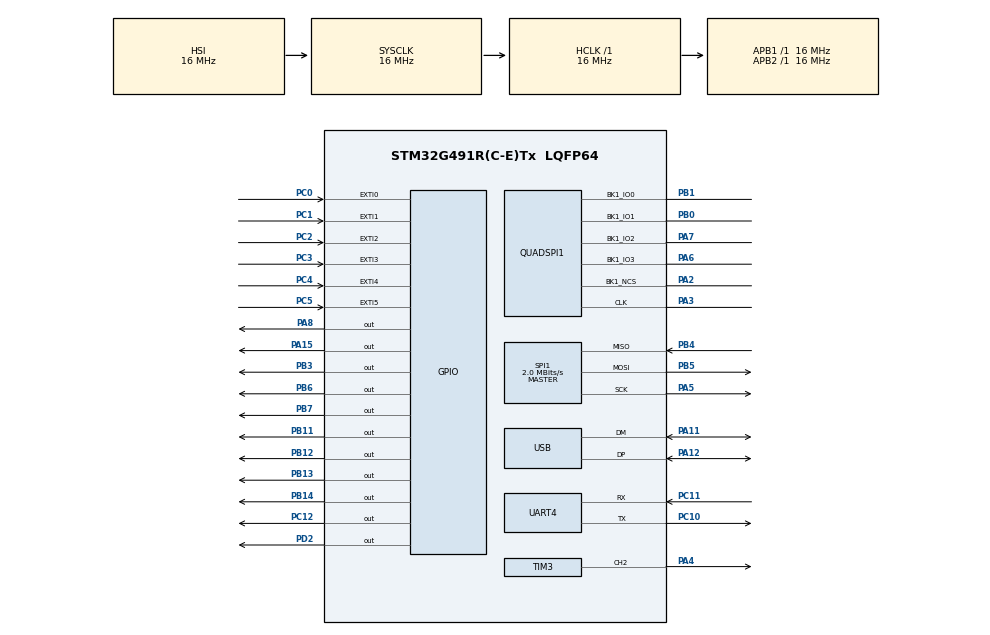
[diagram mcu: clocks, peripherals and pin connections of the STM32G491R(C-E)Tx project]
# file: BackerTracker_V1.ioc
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Mcu.Family=STM32G4
Mcu.Name=STM32G491R(C-E)Tx
Mcu.Package=LQFP64
NVIC.PriorityGroup=NVIC_PRIORITYGROUP_4
NVIC.USB_LP_IRQn=true\:0\:0\:false\:false\:true\:false\:true\:true
PA11.Mode=Device
PA11.Signal=USB_DM
PA12.Mode=Device
PA12.Signal=USB_DP
PA13.Mode=Serial_Wire
PA13.Signal=SYS_JTMS-SWDIO
PA14.Mode=Serial_Wire
PA14.Signal=SYS_JTCK-SWCLK
PA15.Signal=GPIO_Output
PA2.Mode=Single Bank 1
PA2.Signal=QUADSPI1_BK1_NCS
PA3.Mode=Single Bank 1
PA3.Signal=QUADSPI1_CLK
PA4.Signal=S_TIM3_CH2
PA5.Mode=Full_Duplex_Master
PA5.Signal=SPI1_SCK
PA6.Mode=Single Bank 1
PA6.Signal=QUADSPI1_BK1_IO3
PA7.Mode=Single Bank 1
PA7.Signal=QUADSPI1_BK1_IO2
PA8.Signal=GPIO_Output
PB0.Mode=Single Bank 1
PB0.Signal=QUADSPI1_BK1_IO1
PB1.Mode=Single Bank 1
PB1.Signal=QUADSPI1_BK1_IO0
PB11.Signal=GPIO_Output
PB12.Signal=GPIO_Output
PB13.Signal=GPIO_Output
PB14.Signal=GPIO_Output
PB3.Signal=GPIO_Output
PB4.Mode=Full_Duplex_Master
PB4.Signal=SPI1_MISO
PB5.Mode=Full_Duplex_Master
PB5.Signal=SPI1_MOSI
PB6.Signal=GPIO_Output
PB7.Signal=GPIO_Output
PC0.Signal=GPXTI0
PC1.Signal=GPXTI1
PC10.Mode=Asynchronous
PC10.Signal=UART4_TX
PC11.Mode=Asynchronous
PC11.Signal=UART4_RX
PC12.Signal=GPIO_Output
PC2.Signal=GPXTI2
PC3.Signal=GPXTI3
PC4.Signal=GPXTI4
PC5.Signal=GPXTI5
PD2.Signal=GPIO_Output
PF0-OSC_IN.Mode=HSE-External-Oscillator
PF0-OSC_IN.Signal=RCC_OSC_IN
PF1-OSC_OUT.Mode=HSE-External-Oscillator
PF1-OSC_OUT.Signal=RCC_OSC_OUT
ProjectManager.HeapSize=0x200
ProjectManager.StackSize=0x400
ProjectManager.TargetToolchain=STM32CubeIDE
RCC.ADC12Freq_Value=16000000
RCC.ADC345Freq_Value=16000000
RCC.AHBFreq_Value=16000000
RCC.APB1Freq_Value=16000000
RCC.APB1TimFreq_Value=16000000
RCC.APB2Freq_Value=16000000
RCC.APB2TimFreq_Value=16000000
RCC.CortexFreq_Value=16000000
RCC.EXTERNAL_CLOCK_VALUE=12288000
RCC.HCLKFreq_Value=16000000
RCC.HSE_VALUE=16000000
RCC.HSI48_VALUE=48000000
RCC.HSI_VALUE=16000000
RCC.LSE_VALUE=32768
RCC.SYSCLKFreq_VALUE=16000000
RCC.USBFreq_Value=48000000
RCC.VCOOutputFreq_Value=128000000
SH.S_TIM3_CH2.0=TIM3_CH2,PWM Generation2 CH2
SPI1.BaudRatePrescaler=SPI_BAUDRATEPRESCALER_8
SPI1.CLKPhase=SPI_PHASE_1EDGE
SPI1.CalculateBaudRate=2.0 MBits/s
SPI1.DataSize=SPI_DATASIZE_8BIT
SPI1.Direction=SPI_DIRECTION_2LINES
SPI1.Mode=SPI_MODE_MASTER
SPI1.VirtualType=VM_MASTER
TIM3.Channel-PWM\ Generation2\ CH2=TIM_CHANNEL_2
TIM3.PeriodNoDither=100-1
TIM3.Prescaler=59-1
USB_DEVICE.CLASS_NAME_FS=CDC
USB_DEVICE.VirtualMode=Cdc
USB_DEVICE.VirtualModeFS=Cdc_FS
VP_TIM3_VS_ClockSourceINT.Mode=Internal
VP_USB_DEVICE_VS_USB_DEVICE_CDC_FS.Mode=CDC_FS
board=custom

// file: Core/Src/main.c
/* USER CODE BEGIN Header */
/**
  ******************************************************************************
  * @file           : main.c
  * @brief          : Main program body
  ******************************************************************************
  * @attention
  *
  * Copyright (c) 2025 STMicroelectronics.
  * All rights reserved.
  *
  * This software is licensed under terms that can be found in the LICENSE file
  * in the root directory of this software component.
  * If no LICENSE file comes with this software, it is provided AS-IS.
  *
  ******************************************************************************
  */
/* USER CODE END Header */
#include "main.h"
#include "usb_device.h"

/* USER CODE BEGIN Includes */

// Barometer library
#include "MS5607SPI.h"
#include "usbd_cdc_if.h"

/* USER CODE END Includes */

QSPI_HandleTypeDef hqspi1;

SPI_HandleTypeDef hspi1;

TIM_HandleTypeDef htim3;

UART_HandleTypeDef huart4;

/* USER CODE BEGIN PV */

// LED //
uint8_t LEDstate = 0;
uint32_t LEDtimer = 500;

// Baro //
#define BARO_SAMPLERATE_MS 750
uint32_t barotimer = 500;

uint16_t baroState = 0;
uint32_t baroPressure=0;
uint32_t baroTemperature=0;
double baroTemp=0;

/* USER CODE END PV */

void SystemClock_Config(void);
static void MX_GPIO_Init(void);
static void MX_QUADSPI1_Init(void);
static void MX_SPI1_Init(void);
static void MX_UART4_Init(void);
static void MX_TIM3_Init(void);

int main(void)
{

  /* MCU Configuration--------------------------------------------------------*/

  /* Reset of all peripherals, Initializes the Flash interface and the Systick. */
  HAL_Init();

  /* Configure the system clock */
  SystemClock_Config();

  /* Initialize all configured peripherals */
  MX_GPIO_Init();
  MX_QUADSPI1_Init();
  MX_SPI1_Init();
  MX_UART4_Init();
  MX_TIM3_Init();
  MX_USB_Device_Init();
  /* USER CODE BEGIN 2 */

  // USB
  char logBuf[256];

  // Start Buzzer timer channel
  HAL_TIM_PWM_Start(&htim3, TIM_CHANNEL_2);

  // Disable LoRa
  //HAL_GPIO_WritePin(GPIOB, GPIO_PIN_7, GPIO_PIN_SET);
  //HAL_GPIO_WritePin(GPIOB, GPIO_PIN_6, GPIO_PIN_SET);

  // Baro CS pin -> A15
  baroState = MS5607_Init(&hspi1, GPIOA,  GPIO_PIN_15);
  if(baroState == 1){
	  HAL_Delay(250);

	  // Three short beeps
	  TIM3->CCR2 = 50;
	  HAL_Delay(200);
	  TIM3->CCR2 = 0;
	  HAL_Delay(200);
	  TIM3->CCR2 = 50;
	  HAL_Delay(200);
	  TIM3->CCR2 = 0;
	  HAL_Delay(200);
	  TIM3->CCR2 = 50;
	  HAL_Delay(200);
	  TIM3->CCR2 = 0;
	  HAL_Delay(100);

  } else {
	  //baroState = 0;
	  HAL_Delay(250);

	  // 1 long beeps
	  TIM3->CCR2 = 75;
	  HAL_Delay(900);
	  TIM3->CCR2 = 0;
	  HAL_Delay(100);
  }

//  if(MS5607_Init(&hspi1, GPIOA,  GPIO_PIN_15)){
//	  baroState = 1;
//  } else {
//	  baroState = 0;
//  }
//  HAL_Delay(150);

  /* USER CODE END 2 */

  /* Infinite loop */
  while (1)
  {

    /* USER CODE BEGIN 3 */

//	  if(baroState){
//		  if( ((HAL_GetTick() - barotimer) >= BARO_SAMPLERATE_MS)){
//			  MS5607Update();
//			  baroPressure = MS5607GetPressurePa();
//			  baroTemp = MS5607GetTemperatureC();
//			  barotimer = HAL_GetTick();
//
//			  enableCSB();
//			  HAL_SPI_Transmit(&hspi1, 0x1E, 1, 10);
//			  disableCSB();
//		  }
//	  }

//	  if( ((HAL_GetTick() - barotimer) >= BARO_SAMPLERATE_MS)){
//		  MS5607Update();
//		  baroPressure = MS5607GetPressurePa();
//		  baroTemp = MS5607GetTemperatureC();
//		  barotimer = HAL_GetTick();
//	  }

//	  if( ((HAL_GetTick() - barotimer) >= BARO_SAMPLERATE_MS)){
////		  MS5607Update();
////		  baroPressure = MS5607GetPressurePa();
////		  baroTemp = MS5607GetTemperatureC();
//		  /*Sensor reply data buffer*/
//		  uint8_t reply[3];
//
//		  enableCSB();
//		  /* Assemble the conversion command based on previously set OSR */
//		  HAL_SPI_Transmit(&hspi1, CONVERT_D1_COMMAND | 0x00, 1, 10);
//		  // Must wait >= 8.22ms after conversion
//		  HAL_Delay(10);
//		  disableCSB();
//
//		  /* Performs the reading of the 24 bits from the ADC */
//		  enableCSB();
//		  HAL_SPI_Transmit(&hspi1, READ_ADC_COMMAND, 1, 10);
//		  HAL_SPI_Receive(&hspi1, reply, 3, 10);
//		  disableCSB();
//
//		  /* Tranfer the 24bits read into a 32bit int */
//		  baroPressure = ((uint32_t) reply[0] << 16) | ((uint32_t) reply[1] << 8) | (uint32_t) reply[2];
//
//		  enableCSB();
//		  /* Assemble the conversion command based on previously set OSR */
//		  HAL_SPI_Transmit(&hspi1, CONVERT_D2_COMMAND | 0x00, 1, 10);
//		  // Must wait >= 8.22ms after conversion
//		  HAL_Delay(10);
//		  disableCSB();
//
//		  enableCSB();
//		  HAL_SPI_Transmit(&hspi1, READ_ADC_COMMAND, 1, 10);
//		  HAL_SPI_Receive(&hspi1, reply, 3, 10);
//		  disableCSB();
//
//		  /* Assemble the conversion command based on previously set OSR */
//		  baroTemperature = ((uint32_t) reply[0] << 16) | ((uint32_t) reply[1] << 8) | (uint32_t) reply[2];
//
//
//		  barotimer = HAL_GetTick();
//	  }

	  // Blink Blue LED
	  if( (HAL_GetTick() - LEDtimer) >= 500){

		  baroState = MS5607_Init(&hspi1, GPIOA,  GPIO_PIN_15);

		  sprintf(logBuf,"Press: %d Pa | Temp: %0.1f C\r\n",(int)baroPressure,baroTemp);
		  //sprintf(logBuf,"Pressure: %d [Pa]\r\n",(int)baroPressure);
		  CDC_Transmit_FS((uint8_t *) logBuf, strlen(logBuf));

		  LEDtimer = HAL_GetTick();

		  if(LEDstate){
			  GPIOA->ODR |= 1U<<8; //Set PA8 as HIGH
			  LEDstate = 0;

			  // Buzzer Duty Cycle %
			  //TIM3->CCR2 = 10;

		  } else {
			  GPIOA->ODR = ~(~(GPIOA->ODR) | 1U<<8); //Set PA8 as LOW
			  LEDstate = 1;

			  // Change to 0% to turn off
			  //TIM3->CCR2 = 0;

		  }
	  }

  }
  /* USER CODE END 3 */
}

void SystemClock_Config(void)
{
  RCC_OscInitTypeDef RCC_OscInitStruct = {0};
  RCC_ClkInitTypeDef RCC_ClkInitStruct = {0};

  /** Configure the main internal regulator output voltage
  */
  HAL_PWREx_ControlVoltageScaling(PWR_REGULATOR_VOLTAGE_SCALE1);

  /** Initializes the RCC Oscillators according to the specified parameters
  * in the RCC_OscInitTypeDef structure.
  */
  RCC_OscInitStruct.OscillatorType = RCC_OSCILLATORTYPE_HSI|RCC_OSCILLATORTYPE_HSI48;
  RCC_OscInitStruct.HSIState = RCC_HSI_ON;
  RCC_OscInitStruct.HSICalibrationValue = RCC_HSICALIBRATION_DEFAULT;
  RCC_OscInitStruct.HSI48State = RCC_HSI48_ON;
  RCC_OscInitStruct.PLL.PLLState = RCC_PLL_NONE;
  if (HAL_RCC_OscConfig(&RCC_OscInitStruct) != HAL_OK)
  {
    Error_Handler();
  }

  /** Initializes the CPU, AHB and APB buses clocks
  */
  RCC_ClkInitStruct.ClockType = RCC_CLOCKTYPE_HCLK|RCC_CLOCKTYPE_SYSCLK
                              |RCC_CLOCKTYPE_PCLK1|RCC_CLOCKTYPE_PCLK2;
  RCC_ClkInitStruct.SYSCLKSource = RCC_SYSCLKSOURCE_HSI;
  RCC_ClkInitStruct.AHBCLKDivider = RCC_SYSCLK_DIV1;
  RCC_ClkInitStruct.APB1CLKDivider = RCC_HCLK_DIV1;
  RCC_ClkInitStruct.APB2CLKDivider = RCC_HCLK_DIV1;

  if (HAL_RCC_ClockConfig(&RCC_ClkInitStruct, FLASH_LATENCY_0) != HAL_OK)
  {
    Error_Handler();
  }
}

static void MX_QUADSPI1_Init(void)
{

  /* QUADSPI1 parameter configuration*/
  hqspi1.Instance = QUADSPI;
  hqspi1.Init.ClockPrescaler = 255;
  hqspi1.Init.FifoThreshold = 1;
  hqspi1.Init.SampleShifting = QSPI_SAMPLE_SHIFTING_NONE;
  hqspi1.Init.FlashSize = 1;
  hqspi1.Init.ChipSelectHighTime = QSPI_CS_HIGH_TIME_1_CYCLE;
  hqspi1.Init.ClockMode = QSPI_CLOCK_MODE_0;
  hqspi1.Init.FlashID = QSPI_FLASH_ID_1;
  hqspi1.Init.DualFlash = QSPI_DUALFLASH_DISABLE;
  if (HAL_QSPI_Init(&hqspi1) != HAL_OK)
  {
    Error_Handler();
  }

}

static void MX_SPI1_Init(void)
{

  /* SPI1 parameter configuration*/
  hspi1.Instance = SPI1;
  hspi1.Init.Mode = SPI_MODE_MASTER;
  hspi1.Init.Direction = SPI_DIRECTION_2LINES;
  hspi1.Init.DataSize = SPI_DATASIZE_8BIT;
  hspi1.Init.CLKPolarity = SPI_POLARITY_LOW;
  hspi1.Init.CLKPhase = SPI_PHASE_1EDGE;
  hspi1.Init.NSS = SPI_NSS_SOFT;
  hspi1.Init.BaudRatePrescaler = SPI_BAUDRATEPRESCALER_8;
  hspi1.Init.FirstBit = SPI_FIRSTBIT_MSB;
  hspi1.Init.TIMode = SPI_TIMODE_DISABLE;
  hspi1.Init.CRCCalculation = SPI_CRCCALCULATION_DISABLE;
  hspi1.Init.CRCPolynomial = 7;
  hspi1.Init.CRCLength = SPI_CRC_LENGTH_DATASIZE;
  hspi1.Init.NSSPMode = SPI_NSS_PULSE_ENABLE;
  if (HAL_SPI_Init(&hspi1) != HAL_OK)
  {
    Error_Handler();
  }

}

static void MX_TIM3_Init(void)
{

  TIM_ClockConfigTypeDef sClockSourceConfig = {0};
  TIM_MasterConfigTypeDef sMasterConfig = {0};
  TIM_OC_InitTypeDef sConfigOC = {0};

  htim3.Instance = TIM3;
  htim3.Init.Prescaler = 59-1;
  htim3.Init.CounterMode = TIM_COUNTERMODE_UP;
  htim3.Init.Period = 99;
  htim3.Init.ClockDivision = TIM_CLOCKDIVISION_DIV1;
  htim3.Init.AutoReloadPreload = TIM_AUTORELOAD_PRELOAD_DISABLE;
  if (HAL_TIM_Base_Init(&htim3) != HAL_OK)
  {
    Error_Handler();
  }
  sClockSourceConfig.ClockSource = TIM_CLOCKSOURCE_INTERNAL;
  if (HAL_TIM_ConfigClockSource(&htim3, &sClockSourceConfig) != HAL_OK)
  {
    Error_Handler();
  }
  if (HAL_TIM_PWM_Init(&htim3) != HAL_OK)
  {
    Error_Handler();
  }
  sMasterConfig.MasterOutputTrigger = TIM_TRGO_RESET;
  sMasterConfig.MasterSlaveMode = TIM_MASTERSLAVEMODE_DISABLE;
  if (HAL_TIMEx_MasterConfigSynchronization(&htim3, &sMasterConfig) != HAL_OK)
  {
    Error_Handler();
  }
  sConfigOC.OCMode = TIM_OCMODE_PWM1;
  sConfigOC.Pulse = 0;
  sConfigOC.OCPolarity = TIM_OCPOLARITY_HIGH;
  sConfigOC.OCFastMode = TIM_OCFAST_DISABLE;
  if (HAL_TIM_PWM_ConfigChannel(&htim3, &sConfigOC, TIM_CHANNEL_2) != HAL_OK)
  {
    Error_Handler();
  }
  HAL_TIM_MspPostInit(&htim3);

}

static void MX_UART4_Init(void)
{

  huart4.Instance = UART4;
  huart4.Init.BaudRate = 115200;
  huart4.Init.WordLength = UART_WORDLENGTH_8B;
  huart4.Init.StopBits = UART_STOPBITS_1;
  huart4.Init.Parity = UART_PARITY_NONE;
  huart4.Init.Mode = UART_MODE_TX_RX;
  huart4.Init.HwFlowCtl = UART_HWCONTROL_NONE;
  huart4.Init.OverSampling = UART_OVERSAMPLING_16;
  huart4.Init.OneBitSampling = UART_ONE_BIT_SAMPLE_DISABLE;
  huart4.Init.ClockPrescaler = UART_PRESCALER_DIV1;
  huart4.AdvancedInit.AdvFeatureInit = UART_ADVFEATURE_NO_INIT;
  if (HAL_UART_Init(&huart4) != HAL_OK)
  {
    Error_Handler();
  }
  if (HAL_UARTEx_SetTxFifoThreshold(&huart4, UART_TXFIFO_THRESHOLD_1_8) != HAL_OK)
  {
    Error_Handler();
  }
  if (HAL_UARTEx_SetRxFifoThreshold(&huart4, UART_RXFIFO_THRESHOLD_1_8) != HAL_OK)
  {
    Error_Handler();
  }
  if (HAL_UARTEx_DisableFifoMode(&huart4) != HAL_OK)
  {
    Error_Handler();
  }

}

static void MX_GPIO_Init(void)
{
  GPIO_InitTypeDef GPIO_InitStruct = {0};

  /* GPIO Ports Clock Enable */
  __HAL_RCC_GPIOF_CLK_ENABLE();
  __HAL_RCC_GPIOC_CLK_ENABLE();
  __HAL_RCC_GPIOA_CLK_ENABLE();
  __HAL_RCC_GPIOB_CLK_ENABLE();
  __HAL_RCC_GPIOD_CLK_ENABLE();

  /*Configure GPIO pin Output Level */
  HAL_GPIO_WritePin(GPIOB, GPIO_PIN_11|GPIO_PIN_12|GPIO_PIN_13|GPIO_PIN_14
                          |GPIO_PIN_3|GPIO_PIN_6|GPIO_PIN_7, GPIO_PIN_RESET);

  /*Configure GPIO pin Output Level */
  HAL_GPIO_WritePin(GPIOA, GPIO_PIN_8|GPIO_PIN_15, GPIO_PIN_RESET);

  /*Configure GPIO pin Output Level */
  HAL_GPIO_WritePin(GPIOC, GPIO_PIN_12, GPIO_PIN_RESET);

  /*Configure GPIO pin Output Level */
  HAL_GPIO_WritePin(GPIOD, GPIO_PIN_2, GPIO_PIN_RESET);

  /*Configure GPIO pins : PC0 PC1 PC2 PC3
                           PC4 PC5 */
  GPIO_InitStruct.Pin = GPIO_PIN_0|GPIO_PIN_1|GPIO_PIN_2|GPIO_PIN_3
                          |GPIO_PIN_4|GPIO_PIN_5;
  GPIO_InitStruct.Mode = GPIO_MODE_IT_RISING;
  GPIO_InitStruct.Pull = GPIO_NOPULL;
  HAL_GPIO_Init(GPIOC, &GPIO_InitStruct);

  /*Configure GPIO pins : PB11 PB12 PB13 PB14
                           PB3 PB6 PB7 */
  GPIO_InitStruct.Pin = GPIO_PIN_11|GPIO_PIN_12|GPIO_PIN_13|GPIO_PIN_14
                          |GPIO_PIN_3|GPIO_PIN_6|GPIO_PIN_7;
  GPIO_InitStruct.Mode = GPIO_MODE_OUTPUT_PP;
  GPIO_InitStruct.Pull = GPIO_NOPULL;
  GPIO_InitStruct.Speed = GPIO_SPEED_FREQ_LOW;
  HAL_GPIO_Init(GPIOB, &GPIO_InitStruct);

  /*Configure GPIO pins : PA8 PA15 */
  GPIO_InitStruct.Pin = GPIO_PIN_8|GPIO_PIN_15;
  GPIO_InitStruct.Mode = GPIO_MODE_OUTPUT_PP;
  GPIO_InitStruct.Pull = GPIO_NOPULL;
  GPIO_InitStruct.Speed = GPIO_SPEED_FREQ_LOW;
  HAL_GPIO_Init(GPIOA, &GPIO_InitStruct);

  /*Configure GPIO pin : PC12 */
  GPIO_InitStruct.Pin = GPIO_PIN_12;
  GPIO_InitStruct.Mode = GPIO_MODE_OUTPUT_PP;
  GPIO_InitStruct.Pull = GPIO_NOPULL;
  GPIO_InitStruct.Speed = GPIO_SPEED_FREQ_LOW;
  HAL_GPIO_Init(GPIOC, &GPIO_InitStruct);

  /*Configure GPIO pin : PD2 */
  GPIO_InitStruct.Pin = GPIO_PIN_2;
  GPIO_InitStruct.Mode = GPIO_MODE_OUTPUT_PP;
  GPIO_InitStruct.Pull = GPIO_NOPULL;
  GPIO_InitStruct.Speed = GPIO_SPEED_FREQ_LOW;
  HAL_GPIO_Init(GPIOD, &GPIO_InitStruct);

}

void Error_Handler(void)
{
  __disable_irq();
  while (1)
  {
  }
}
